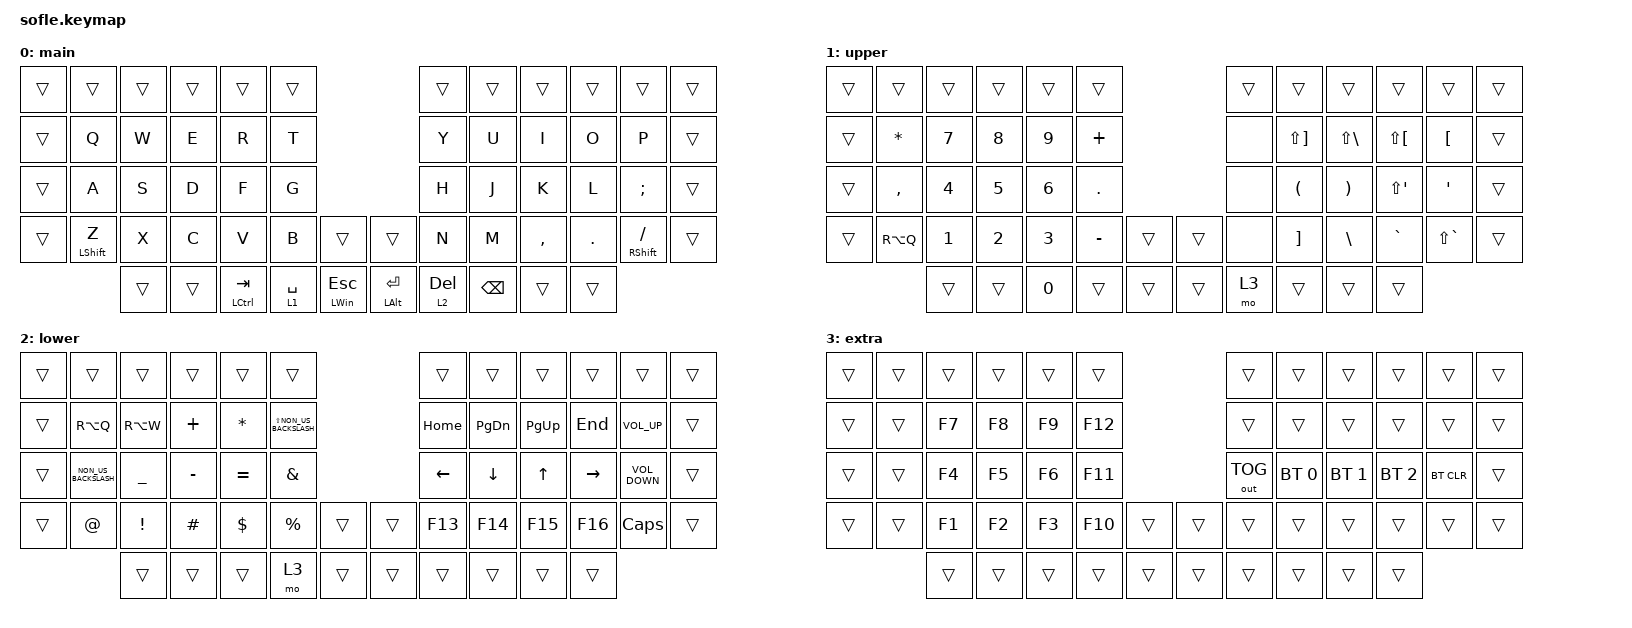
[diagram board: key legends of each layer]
/*
 * Copyright (c) 2020 The ZMK Contributors
 *
 * SPDX-License-Identifier: MIT
 */

#include <behaviors.dtsi>
#include <dt-bindings/zmk/bt.h>
#include <dt-bindings/zmk/keys.h>
#include <dt-bindings/zmk/outputs.h>

#define BASE 0
#define LOWER 1
#define RAISE 2
#define ADJUST 3

&led_strip { chain-length = <30>; };

/ {
    // Activate ADJUST layer by pressing raise and lower

    conditional_layers { compatible = "zmk,conditional-layers"; };

    combos { compatible = "zmk,combos"; };

    keymap {
        compatible = "zmk,keymap";

        main {
            display-name = "main";

            // ------------------------------------------------------------------------------------------------------------
            // |   `   |  1  |  2  |  3   |  4   |  5   |                   |  6   |  7    |  8    |  9   |   0   |       |
            // |  ESC  |  Q  |  W  |  E   |  R   |  T   |                   |  Y   |  U    |  I    |  O   |   P   | BKSPC |
            // |  TAB  |  A  |  S  |  D   |  F   |  G   |                   |  H   |  J    |  K    |  L   |   ;   |   '   |
            // | SHIFT |  Z  |  X  |  C   |  V   |  B   |  MUTE  |  |       |  N   |  M    |  ,    |  .   |   /   | SHIFT |
            //               | GUI | ALT  | CTRL | LOWER|  ENTER |  | SPACE | RAISE| CTRL  | ALT   | GUI  |

            bindings = <
&trans  &trans            &trans  &trans  &trans         &trans                                               &trans        &trans         &trans     &trans   &trans                 &trans
&trans  &kp Q             &kp W   &kp E   &kp R          &kp T                                                &kp Y         &kp U          &kp I      &kp O    &kp P                  &trans
&trans  &kp A             &kp S   &kp D   &kp F          &kp G                                                &kp H         &kp J          &kp K      &kp L    &kp SEMICOLON          &trans
&trans  &mt LEFT_SHIFT Z  &kp X   &kp C   &kp V          &kp B        &trans              &trans              &kp N         &kp M          &kp COMMA  &kp DOT  &mt RIGHT_SHIFT SLASH  &trans
                          &trans  &trans  &mt LCTRL TAB  &lt 1 SPACE  &mt LEFT_WIN ESC    &mt LEFT_ALT ENTER  &lt 2 DELETE  &kp BACKSPACE  &trans     &trans
            >;
        };

        upper {
            display-name = "upper";
            bindings = <
&trans  &trans        &trans        &trans        &trans        &trans                       &trans  &trans                 &trans                 &trans                &trans            &trans
&trans  &kp ASTERISK  &kp NUMBER_7  &kp NUMBER_8  &kp NUMBER_9  &kp PLUS                     &none   &kp LS(RIGHT_BRACKET)  &kp LS(BACKSLASH)      &kp LS(LEFT_BRACKET)  &kp LEFT_BRACKET  &trans
&trans  &kp COMMA     &kp NUMBER_4  &kp NUMBER_5  &kp NUMBER_6  &kp DOT                      &none   &kp LEFT_PARENTHESIS   &kp RIGHT_PARENTHESIS  &kp LS(APOSTROPHE)    &kp APOSTROPHE    &trans
&trans  &kp RA(Q)     &kp NUMBER_1  &kp NUMBER_2  &kp NUMBER_3  &kp MINUS  &trans    &trans  &none   &kp RIGHT_BRACKET      &kp BACKSLASH          &kp GRAVE             &kp LS(GRAVE)     &trans
                      &trans        &trans        &kp NUMBER_0  &trans     &trans    &trans  &mo 3   &trans                 &trans                 &trans
            >;
        };

        lower {
            display-name = "lower";
            bindings = <
&trans  &trans                &trans           &trans     &trans        &trans                                      &trans    &trans         &trans       &trans     &trans             &trans
&trans  &kp RA(Q)             &kp RA(W)        &kp PLUS   &kp ASTERISK  &kp LS(NON_US_BACKSLASH)                    &kp HOME  &kp PAGE_DOWN  &kp PAGE_UP  &kp END    &kp C_VOLUME_UP    &trans
&trans  &kp NON_US_BACKSLASH  &kp UNDERSCORE   &kp MINUS  &kp EQUAL     &kp AMPERSAND                               &kp LEFT  &kp DOWN       &kp UP       &kp RIGHT  &kp C_VOLUME_DOWN  &trans
&trans  &kp AT_SIGN           &kp EXCLAMATION  &kp HASH   &kp DOLLAR    &kp PERCENT               &trans    &trans  &kp F13   &kp F14        &kp F15      &kp F16    &kp CAPS           &trans
                              &trans           &trans     &trans        &mo 3                     &trans    &trans  &trans    &trans         &trans       &trans
            >;
        };

        extra {
            display-name = "extra";
            bindings = <
&trans  &trans  &trans  &trans  &trans  &trans                     &trans        &trans        &trans        &trans        &trans      &trans
&trans  &trans  &kp F7  &kp F8  &kp F9  &kp F12                    &trans        &trans        &trans        &trans        &trans      &trans
&trans  &trans  &kp F4  &kp F5  &kp F6  &kp F11                    &out OUT_TOG  &bt BT_SEL 0  &bt BT_SEL 1  &bt BT_SEL 2  &bt BT_CLR  &trans
&trans  &trans  &kp F1  &kp F2  &kp F3  &kp F10  &trans    &trans  &trans        &trans        &trans        &trans        &trans      &trans
                &trans  &trans  &trans  &trans   &trans    &trans  &trans        &trans        &trans        &trans
            >;
        };
    };
};
